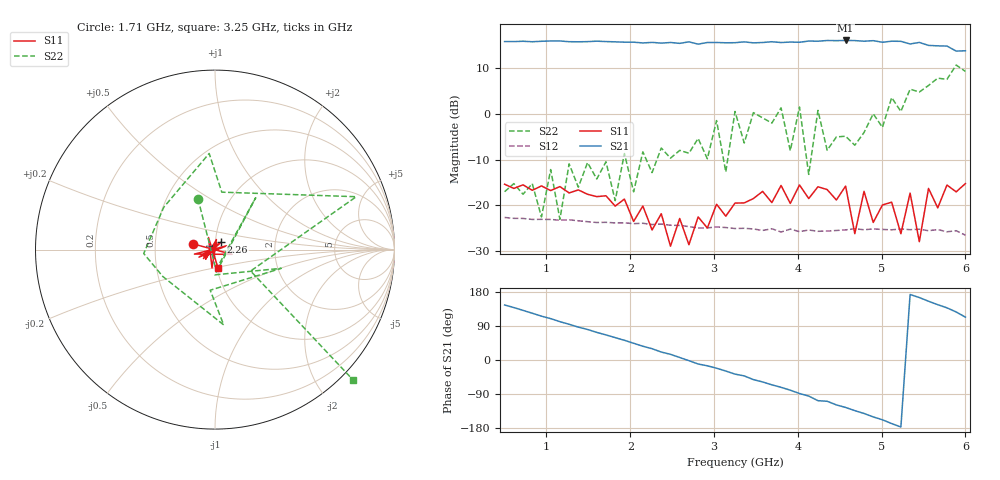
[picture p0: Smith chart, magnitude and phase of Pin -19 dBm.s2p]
! RsaToolbox (C) 2015 Rohde & Schwarz America
! Number of points: 51
! Number of ports: 2
! Balanced ports?: No
# Hz S RI R 50
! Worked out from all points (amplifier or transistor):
!   51 points, 500 MHz to 6 GHz, reference 50 ohm
!   highest |S21| = 15.9 dB at 4.57 GHz (marker M1)
!   |S21| within 3 dB of that: start of sweep to end of sweep
!   unconditionally stable (mu >= 1): start of sweep to 3.004 GHz; 3.049 GHz to 3.219 GHz; 4.294 GHz to 4.794 GHz (the widest 3 of 6)
!   at 1.38 GHz: K = 1.35, MAG = 16.0 dB, |S12| = -23.3 dB
!   at 3.25 GHz: K = 0.06, MSG = 20.2 dB, |S12| = -25.0 dB
!   at 6 GHz: K = -15.13, MSG = 20.1 dB, |S12| = -26.5 dB
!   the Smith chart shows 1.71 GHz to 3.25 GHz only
!   S11 on the Smith chart (normalised r, x): 1.71 GHz: 0.78, +0.05; 2.26 GHz: 1.07, +0.09; 3.25 GHz: 1.01, -0.21
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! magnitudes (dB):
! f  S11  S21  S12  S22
! 500 MHz  -15.4  15.7  -22.6  -17.0
! 940 MHz  -15.7  15.8  -23.0  -22.5
! 1.05 GHz  -16.8  15.8  -23.1  -12.2
! 1.16 GHz  -15.9  15.8  -23.2  -23.0
! 1.49 GHz  -17.6  15.7  -23.5  -10.7
! 1.71 GHz  -17.9  15.7  -23.7  -10.5
! 1.82 GHz  -20.1  15.6  -23.8  -19.0
! 2.26 GHz  -25.3  15.5  -24.2  -12.8
! 2.37 GHz  -21.8  15.4  -24.1  -7.5
! 3.03 GHz  -19.7  15.5  -24.7  -1.5
! 3.14 GHz  -22.3  15.4  -24.8  -12.7
! 3.25 GHz  -19.5  15.4  -25.0  0.5
! 3.91 GHz  -19.6  15.6  -25.2  -8.1
! 4.02 GHz  -15.5  15.5  -25.7  1.4
! 4.13 GHz  -18.5  15.8  -25.3  -13.2
! 4.24 GHz  -15.9  15.8  -25.6  0.7
! 4.57 GHz  -15.8  15.9  -25.3  -4.9
! 4.68 GHz  -26.1  15.9  -25.1  -6.9
! 5.12 GHz  -19.3  15.8  -25.3  3.5
! 5.45 GHz  -27.9  15.5  -25.2  4.7
! 5.56 GHz  -16.3  14.9  -25.5  6.1
! 6 GHz  -15.2  13.7  -26.5  9.2
